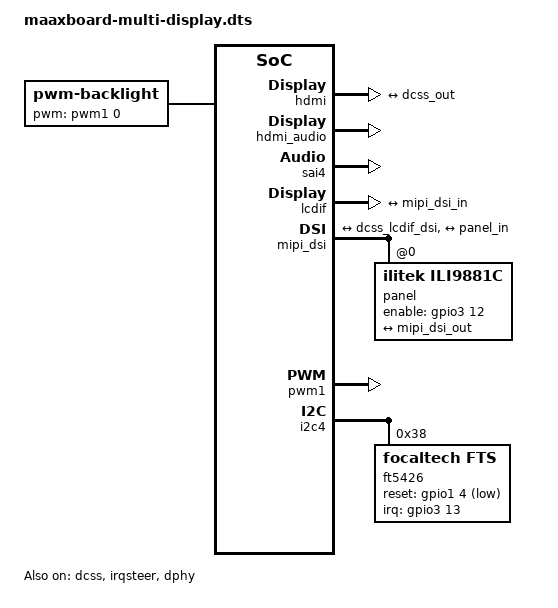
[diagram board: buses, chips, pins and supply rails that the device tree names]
/*
 * Copyright 2019 EMBEST
 *
 * This program is free software; you can redistribute it and/or
 * modify it under the terms of the GNU General Public License
 * as published by the Free Software Foundation; either version 2
 * of the License, or (at your option) any later version.
 *
 * This program is distributed in the hope that it will be useful,
 * but WITHOUT ANY WARRANTY; without even the implied warranty of
 * MERCHANTABILITY or FITNESS FOR A PARTICULAR PURPOSE.  See the
 * GNU General Public License for more details.
 */

#include "maaxboard.dtsi"
#include "maaxboard-extended-gpio.dtsi"

/ {
	backlight: backlight {
			compatible = "pwm-backlight";
			pwms = <&pwm1 0 40000 0>;
			brightness-levels = <0 8 32 64 96 128 160 192 224 255>;
			default-brightness-level = <8>;
			status = "disabled";
	};
};

&dcss {
	status = "okay";
	disp-dev = "hdmi_disp";

	port@0 {
		dcss_out: endpoint {
			  remote-endpoint = <&hdmi_in>;
		};
	};
};

&hdmi {
	compatible = "cdn,imx8mq-hdmi";
	lane-mapping = <0xe4>;
	status = "okay";

	port@1 {
		hdmi_in: endpoint {
			remote-endpoint = <&dcss_out>;
		};
	};
};

&hdmi_audio {
	status = "okay";
};

&sai4 {
	status = "okay";
};


&iomuxc {
	imx8mq-evk {
		pinctrl_mipi_dsi_en: mipi_dsi_en {
			fsl,pins = <
				MX8MQ_IOMUXC_NAND_DATA06_GPIO3_IO12		0x16  /* DSI_EN */
			>;
		};

		pinctrl_ts_ft5426: ft5426_pinsgrp {
			fsl,pins = <
				MX8MQ_IOMUXC_NAND_DATA07_GPIO3_IO13		0x19  /* DSI_TS_nINT */
				MX8MQ_IOMUXC_GPIO1_IO04_GPIO1_IO4		0x19  /* DSI_TS_RST  */
			>;
		};

		pinctrl_pwm1: pwm1_grp {
			fsl,pins = <
				MX8MQ_IOMUXC_GPIO1_IO01_PWM1_OUT		0x06
			>;
		};
	};
};

&irqsteer {
	status = "okay";
};

&lcdif {
	status = "okay";
	max-res = <1280>, <1280>;
	max-memory-bandwidth = <221257728>; /* 720x1280-32@60.02 */

	assigned-clocks = <&clk IMX8MQ_CLK_LCDIF_PIXEL>,
			  <&clk IMX8MQ_VIDEO_PLL1_BYPASS>,
			  <&clk IMX8MQ_VIDEO_PLL1_REF_SEL>,
			  <&clk IMX8MQ_VIDEO_PLL1>;
	assigned-clock-parents = <&clk IMX8MQ_VIDEO_PLL1_OUT>,
				 <&clk IMX8MQ_VIDEO_PLL1>,
				 <&clk IMX8MQ_CLK_27M>;
	assigned-clock-rate = <126000000>, <0>, <0>, <1134000000>;

	port@0 {
		dcss_lcdif_dsi: endpoint {
			remote-endpoint = <&mipi_dsi_in>;
		};
	};
};

&mipi_dsi {
	status = "okay";

	panel@0 {
		compatible = "ilitek,ili9881c";
		reg = <0>;
		pinctrl-0 = <&pinctrl_mipi_dsi_en>;
		enable-gpio = <&gpio3 12 GPIO_ACTIVE_HIGH>;
		dsi-lanes = <2>;

		port {
			panel_in: endpoint {
				remote-endpoint = <&mipi_dsi_out>;
			};
		};
	};

	ports {
		#address-cells = <1>;
		#size-cells = <0>;

		port@0 {
			reg = <0>;
			mipi_dsi_in: endpoint {
				remote-endpoint = <&dcss_lcdif_dsi>;
			};
		};

		port@1 {
			reg = <1>;
			mipi_dsi_out: endpoint {
				remote-endpoint = <&panel_in>;
			};
		};
	};
};

&dphy {
	status = "okay";
};

&backlight {
	status = "okay";
};

&pwm1 {
        pinctrl-names = "default";
        pinctrl-0 = <&pinctrl_pwm1>;
        status = "okay";
};

&i2c4 {
	status = "okay";

	ft5426: ft5426_ts@38 {
		compatible = "focaltech,fts";
		reg = <0x38>;
		pinctrl-0 = <&pinctrl_ts_ft5426>;

		interrupt-parent = <&gpio3>;
		interrupts = <13 2>;
		focaltech,reset-gpio = <&gpio1 4 0x01>;
		focaltech,irq-gpio = <&gpio3 13 0x02>;
		focaltech,max-touch-number = <10>;
		focaltech,panel-type = <0x54260002>; /* _FT5426 */
		focaltech,display-coords =  <0 0 720 1280>;
		focaltech,have-key;
		focaltech,key-number = <3>;
		focaltech,keys = <139 102 158>;
		focaltech,key-y-coord = <2000>;
		focaltech,key-x-coords = <200 600 800>;
		status = "okay";
	};
};

